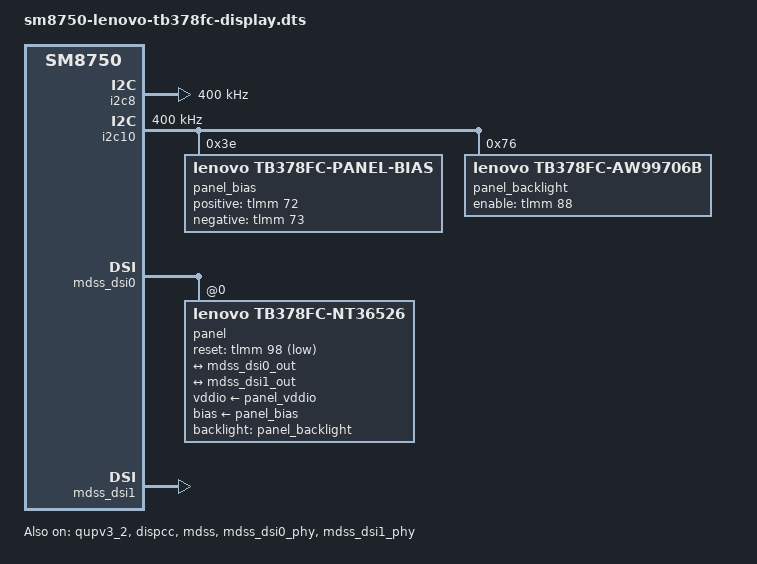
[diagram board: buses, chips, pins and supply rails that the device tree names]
// SPDX-License-Identifier: BSD-3-Clause
/* Native display bring-up; includes the proven minimal board definition. */
#include "sm8750-lenovo-tb378fc.dts"

/ {
	reserved-memory {
		tb378fc_splash: splash_region {
			/* The boot scanout remains active while DRM attaches its domain. */
			iommu-addresses = <&mdss 0x0 0xfc800000 0x0 0x2b00000>;
		};
	};
};

&apps_rsc {
	regulators-b {
		vdd-l12-supply = <&vreg_s3g>;
		panel_vddio: ldo12 {
			regulator-name = "vreg_l12b_panel_io";
			regulator-min-microvolt = <1800000>;
			regulator-max-microvolt = <1800000>;
			regulator-initial-mode = <RPMH_REGULATOR_MODE_HPM>;
		};
	};
	regulators-i {
		vdd-l3-supply = <&vreg_s1d>;
		dsi_phy_supply: ldo3 {
			regulator-name = "vreg_l3i_dsi_phy";
			regulator-min-microvolt = <880000>;
			regulator-max-microvolt = <880000>;
			regulator-initial-mode = <RPMH_REGULATOR_MODE_HPM>;
		};
	};
};

/* The I2C serial engine is a child of this disabled-by-default wrapper. */
&qupv3_2 {
	status = "okay";
};

&gpi_dma2 {
	status = "okay";
};

/* Native second backlight: same address, independent serial engine. */
&i2c8 {
	status = "okay";
	clock-frequency = <400000>;
};

&i2c10 {
	status = "okay";
	clock-frequency = <400000>;
	panel_bias: regulator@3e {
		compatible = "lenovo,tb378fc-panel-bias";
		reg = <0x3e>;
		regulator-name = "tb378fc-panel-bias";
		positive-gpios = <&tlmm 72 GPIO_ACTIVE_HIGH>;
		negative-gpios = <&tlmm 73 GPIO_ACTIVE_HIGH>;
	};
	panel_backlight: backlight@76 {
		compatible = "lenovo,tb378fc-aw99706b";
		reg = <0x76>;
		enable-gpios = <&tlmm 88 GPIO_ACTIVE_HIGH>;
		lenovo,secondary-i2c-bus = <&i2c8>;
	};
};

&dispcc {
	status = "okay";
};

&mdss {
	memory-region = <&tb378fc_splash>;
	status = "okay";
};

&mdss_dsi0 {
	vdda-supply = <&vreg_l3g>;
	qcom,dual-dsi-mode;
	qcom,sync-dual-dsi;
	qcom,master-dsi;
	status = "okay";
	panel: panel@0 {
		compatible = "lenovo,tb378fc-nt36526";
		reg = <0>;
		reset-gpios = <&tlmm 98 GPIO_ACTIVE_LOW>;
		pinctrl-0 = <&panel_te>;
		pinctrl-names = "default";
		vddio-supply = <&panel_vddio>;
		bias-supply = <&panel_bias>;
		backlight = <&panel_backlight>;
		ports {
			#address-cells = <1>;
			#size-cells = <0>;
			port@0 {
				reg = <0>;
				panel0_in: endpoint {
					remote-endpoint = <&mdss_dsi0_out>;
				};
			};
			port@1 {
				reg = <1>;
				panel1_in: endpoint {
					remote-endpoint = <&mdss_dsi1_out>;
				};
			};
		};
	};
};

&mdss_dsi0_out {
	remote-endpoint = <&panel0_in>;
	data-lanes = <0 1 2 3>;
};

&mdss_dsi0_phy {
	vdds-supply = <&dsi_phy_supply>;
	status = "okay";
};

&mdss_dsi1 {
	vdda-supply = <&vreg_l3g>;
	qcom,dual-dsi-mode;
	qcom,sync-dual-dsi;
	/* The secondary link shares DSI0's PLL, as in the native display. */
	clocks = <&dispcc DISP_CC_MDSS_BYTE1_CLK>,
		 <&dispcc DISP_CC_MDSS_BYTE1_INTF_CLK>,
		 <&dispcc DISP_CC_MDSS_PCLK1_CLK>,
		 <&dispcc DISP_CC_MDSS_ESC1_CLK>,
		 <&dispcc DISP_CC_MDSS_AHB_CLK>,
		 <&gcc GCC_DISP_HF_AXI_CLK>,
		 <&mdss_dsi0_phy DSI_PIXEL_PLL_CLK>,
		 <&mdss_dsi0_phy DSI_BYTE_PLL_CLK>,
		 <&dispcc DISP_CC_ESYNC1_CLK>,
		 <&dispcc DISP_CC_OSC_CLK>,
		 <&dispcc DISP_CC_MDSS_BYTE1_CLK_SRC>,
		 <&dispcc DISP_CC_MDSS_PCLK1_CLK_SRC>;
	status = "okay";
};

&mdss_dsi1_out {
	remote-endpoint = <&panel1_in>;
	data-lanes = <0 1 2 3>;
};

&mdss_dsi1_phy {
	vdds-supply = <&dsi_phy_supply>;
	status = "okay";
};

&tlmm {
	panel_te: panel-te-state {
		pins = "gpio86";
		function = "mdp_vsync";
		drive-strength = <2>;
		bias-disable;
		input-enable;
	};
};
